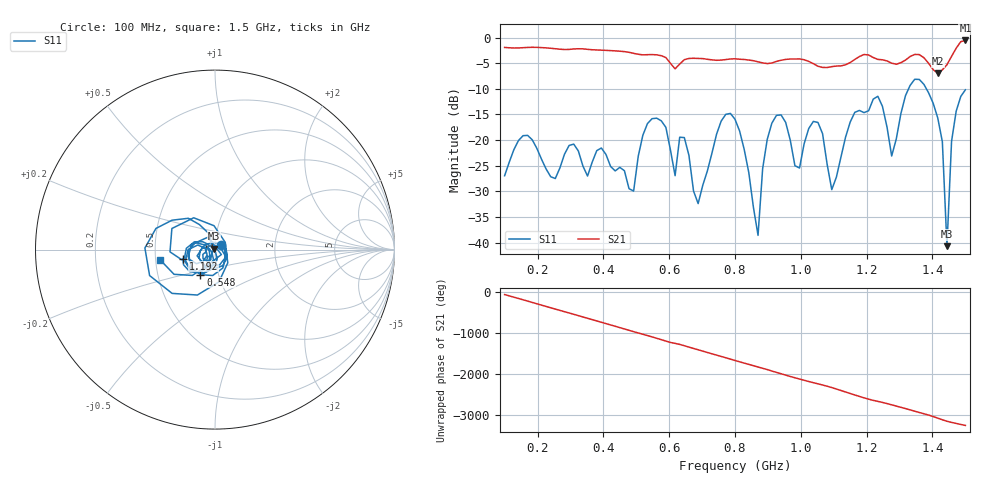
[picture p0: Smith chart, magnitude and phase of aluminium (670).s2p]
! NanoVNA-App
! Date: 2025-09-25 15:00:29
! Start: 100MHz Stop: 1,5GHz Points: 101
! S-Parameter data: F S11 S21 S12 S22
# Hz S RI R 50
!  Frequency  S11_Real  S11_Imag  S21_Real  S21_Imag  S12_Real  S12_Imag  S22_Real  S22_Imag
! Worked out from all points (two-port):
!   101 points, 100 MHz to 1.5 GHz, reference 50 ohm
!   highest |S21| = -0.56 dB at 1.5 GHz (marker M1); lowest = -7.0 dB at 1.416 GHz (marker M2)
!   |S21| within 3 dB of the highest: start of sweep to 577 MHz; 1.459 GHz to end of sweep (the widest 2 of 4)
!   lowest |S11| = -40.7 dB at 1.444 GHz (marker M3), VSWR 1.02, Z = 49.3 + j0.576 ohm
!   |S11| at or under -10 dB: start of sweep to 1.327 GHz; 1.381 GHz to end of sweep
!   S12 and S22 are empty: the file has one direction only
!   S11 on the Smith chart (normalised r, x): 100 MHz: 1.07, +0.06; 548 MHz: 0.82, -0.24; 1.192 GHz: 0.69, -0.07; 1.5 GHz: 0.53, -0.07
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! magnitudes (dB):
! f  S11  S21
! 100 MHz  -27.0  -1.9
! 156 MHz  -19.1  -2.0
! 338 MHz  -25.1  -2.2
! 492 MHz  -29.9  -3.1
! 548 MHz  -15.8  -3.3
! 576 MHz  -16.2  -3.5
! 688 MHz  -32.4  -4.1
! 800 MHz  -15.9  -4.1
! 870 MHz  -38.6  -4.7
! 912 MHz  -16.7  -5.0
! 996 MHz  -25.4  -4.2
! 1.038 GHz  -16.4  -5.1
! 1.094 GHz  -29.7  -5.7
! 1.192 GHz  -14.6  -3.3
! 1.234 GHz  -11.5  -4.3
! 1.276 GHz  -23.1  -5.0
! 1.346 GHz  -8.1  -3.3
! 1.416 GHz  -15.7  -7.0
! 1.43 GHz  -20.3  -6.3
! 1.444 GHz  -40.7  -5.3
! 1.458 GHz  -20.2  -3.7
! 1.5 GHz  -10.2  -0.6
